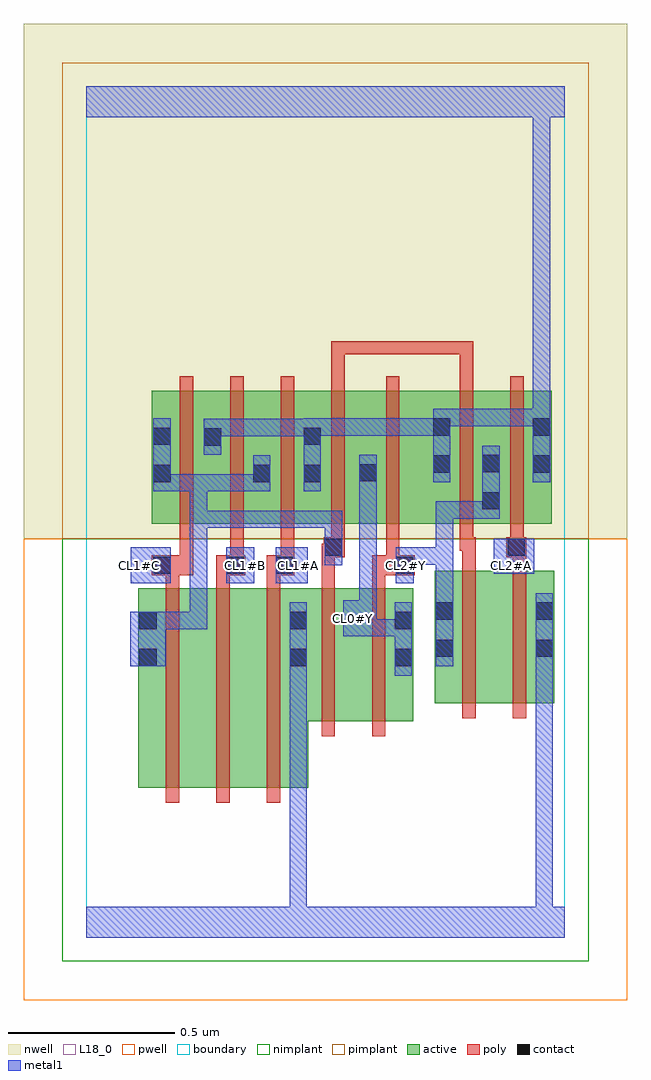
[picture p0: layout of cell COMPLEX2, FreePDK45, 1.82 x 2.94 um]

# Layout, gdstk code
import gdstk
lib = gdstk.Library(unit=1e-6, precision=1e-09)
def R(c, l, rs):  # rectangles x0, y0, x1, y1
    for r in rs: c.add(gdstk.rectangle(r[:2], r[2:], *l))
def A(c, l, x, y, w, h, nx, ny, dx, dy):  # array of equal rectangles
    R(c, l, [(x+i*dx, y+j*dy, x+i*dx+w, y+j*dy+h) for i in range(nx) for j in range(ny)])
active = (1, 0)
pwell = (2, 0)
nwell = (3, 0)
nimplant = (4, 0)
pimplant = (5, 0)
poly = (9, 0)
contact = (10, 0)
metal1 = (11, 0)
L18_0 = (18, 0)
boundary = (235, 0)

complex2 = lib.new_cell('COMPLEX2')
R(complex2, active, [(0.156,0.45,0.216,1.05), (0.156,0.45,0.336,1.05), (0.336,0.45,0.488,1.05), (0.488,0.45,0.668,1.05), (0.608,0.45,0.668,1.05), (0.608,0.65,0.804,1.05), (0.804,0.65,0.984,1.05), (0.924,0.65,0.984,1.05), (1.048,0.704,1.228,1.104), (1.048,0.704,1.108,1.104), (1.228,0.704,1.408,1.104), (1.348,0.756,1.408,1.104), (0.198,1.244,0.258,1.644), (0.198,1.244,0.41,1.644), (0.35,1.244,0.558,1.644), (0.498,1.244,0.558,1.644), (0.498,1.244,0.71,1.644), (0.65,1.244,0.878,1.644), (0.818,1.244,1.1,1.644), (1.04,1.244,1.1,1.644), (1.04,1.244,1.248,1.644), (1.188,1.244,1.4,1.644), (1.34,1.244,1.4,1.644), (1.188,1.284,1.248,1.644), (0.65,1.292,0.71,1.644), (0.35,1.366,0.41,1.644), (0.818,1.368,0.878,1.644)])
R(complex2, pwell, [(-0.188,-0.188,1.628,1.2)])
R(complex2, nwell, [(-0.188,1.2,1.628,2.748)])
R(complex2, nimplant, [(-0.072,-0.072,1.512,1.2)])
R(complex2, pimplant, [(-0.072,1.2,1.512,2.632)])
A(complex2, poly, 0.24, 0.406, 0.04, 0.688, 3, 1, 0.152, 0)
A(complex2, poly, 0.24, 1.054, 0.04, 0.076, 3, 1, 0.152, 0)
A(complex2, poly, 0.282, 1.11, 0.04, 0.13, 3, 1, 0.152, 0)
A(complex2, poly, 0.282, 1.2, 0.04, 0.488, 4, 1, 0.152, 0)
R(complex2, poly, [(0.708,0.606,0.748,1.094), (0.86,0.606,0.9,1.094), (1.132,0.66,1.172,1.148), (1.284,0.66,1.324,1.148), (0.708,1.054,0.748,1.184), (0.86,1.054,0.9,1.13), (0.198,1.09,0.322,1.15), (0.24,1.09,0.28,1.13), (0.24,1.09,0.28,1.13), (0.392,1.09,0.478,1.15), (0.544,1.09,0.626,1.15), (0.86,1.09,0.988,1.15), (1.132,1.108,1.172,1.204), (1.284,1.108,1.324,1.184), (0.434,1.11,0.474,1.15), (0.434,1.11,0.474,1.15), (0.586,1.11,0.626,1.15), (0.586,1.11,0.626,1.15), (0.902,1.11,0.942,1.15), (0.902,1.11,0.942,1.15), (0.902,1.11,0.942,1.24), (0.708,1.144,0.754,1.184), (0.714,1.144,0.754,1.184), (0.714,1.144,0.778,1.204), (1.264,1.144,1.324,1.204), (0.738,1.164,0.778,1.24), (1.124,1.164,1.164,1.24), (1.124,1.164,1.164,1.204), (1.124,1.164,1.164,1.204), (1.124,1.164,1.172,1.204), (1.276,1.164,1.316,1.24), (1.276,1.164,1.316,1.204), (1.276,1.164,1.316,1.204), (0.902,1.2,0.942,1.688), (1.124,1.2,1.164,1.688), (1.276,1.2,1.316,1.688), (0.738,1.648,0.778,1.794), (1.124,1.648,1.164,1.794), (0.738,1.754,0.778,1.794), (0.738,1.754,0.778,1.794), (0.738,1.754,0.778,1.794), (0.738,1.754,1.058,1.794), (1.018,1.754,1.058,1.794), (1.018,1.754,1.058,1.794), (1.018,1.754,1.058,1.794), (1.018,1.754,1.164,1.794), (1.124,1.754,1.164,1.794), (1.124,1.754,1.164,1.794), (1.124,1.754,1.164,1.794)])
R(complex2, contact, [(0.16,0.816,0.212,0.868), (0.612,0.816,0.664,0.868), (0.928,0.816,0.98,0.868), (1.052,0.844,1.104,0.896), (1.352,0.844,1.404,0.896), (0.16,0.928,0.212,0.98), (0.612,0.928,0.664,0.98), (0.928,0.928,0.98,0.98), (1.052,0.956,1.104,1.008), (1.352,0.956,1.404,1.008), (0.202,1.094,0.254,1.146), (0.422,1.094,0.474,1.146), (0.57,1.094,0.622,1.146), (0.932,1.094,0.984,1.146), (0.718,1.148,0.77,1.2), (1.268,1.148,1.32,1.2), (1.192,1.288,1.244,1.34), (0.202,1.37,0.254,1.422), (0.502,1.37,0.554,1.422), (0.654,1.37,0.706,1.422), (0.822,1.372,0.874,1.424), (1.044,1.398,1.096,1.45), (1.344,1.398,1.396,1.45), (1.192,1.4,1.244,1.452), (0.354,1.48,0.406,1.532), (0.202,1.482,0.254,1.534), (0.654,1.482,0.706,1.534), (1.044,1.51,1.096,1.562), (1.344,1.51,1.396,1.562)])
R(complex2, metal1, [(0,0,1.44,0.092), (0.612,0.04,0.664,0.092), (0.612,0.04,0.664,0.092), (0.612,0.04,0.664,0.092), (0.612,0.04,0.664,0.092), (0.612,0.04,0.664,0.092), (0.612,0.04,0.664,0.092), (0.612,0.04,0.664,0.092), (0.612,0.04,0.664,0.092), (0.612,0.04,0.664,0.84), (1.352,0.04,1.404,0.092), (1.352,0.04,1.404,0.092), (1.352,0.04,1.404,0.092), (1.352,0.04,1.404,0.092), (1.352,0.04,1.404,0.092), (1.352,0.04,1.404,0.092), (1.352,0.04,1.404,0.092), (1.352,0.04,1.404,0.092), (1.352,0.04,1.404,0.868), (0.612,0.788,0.664,1.008), (0.928,0.788,0.98,1.008), (0.132,0.816,0.24,0.98), (1.052,0.816,1.104,1.036), (1.352,0.816,1.404,0.868), (1.352,0.816,1.404,0.868), (1.352,0.816,1.404,0.868), (1.352,0.816,1.404,0.868), (1.352,0.816,1.404,1.036), (0.774,0.906,0.874,1.014), (0.818,0.906,0.87,0.958), (0.818,0.906,0.87,0.958), (0.818,0.906,0.98,0.958), (0.928,0.906,0.98,0.958), (0.928,0.906,0.98,0.958), (0.188,0.928,0.24,0.98), (0.188,0.928,0.24,0.98), (0.188,0.928,0.364,0.98), (0.312,0.928,0.364,0.98), (0.312,0.928,0.364,1.284), (0.822,0.962,0.874,1.396), (1.052,0.984,1.104,1.174), (0.134,1.066,0.254,1.174), (0.422,1.066,0.506,1.174), (0.57,1.066,0.666,1.174), (0.932,1.066,0.986,1.174), (1.226,1.094,1.348,1.2), (0.718,1.12,0.77,1.284), (0.934,1.122,0.986,1.174), (0.934,1.122,0.986,1.174), (0.934,1.122,1.104,1.174), (1.052,1.122,1.104,1.174), (1.052,1.122,1.104,1.312), (0.312,1.232,0.364,1.284), (0.312,1.232,0.364,1.284), (0.312,1.232,0.364,1.284), (0.312,1.232,0.364,1.284), (0.312,1.232,0.364,1.284), (0.312,1.232,0.524,1.284), (0.312,1.232,0.364,1.394), (0.472,1.232,0.524,1.284), (0.472,1.232,0.634,1.284), (0.582,1.232,0.634,1.284), (0.582,1.232,0.634,1.284), (0.582,1.232,0.634,1.284), (0.582,1.232,0.77,1.284), (1.052,1.26,1.104,1.312), (1.052,1.26,1.104,1.312), (1.052,1.26,1.104,1.312), (1.052,1.26,1.104,1.312), (1.052,1.26,1.104,1.312), (1.052,1.26,1.244,1.312), (1.192,1.26,1.244,1.48), (0.202,1.342,0.254,1.394), (0.202,1.342,0.254,1.394), (0.202,1.342,0.364,1.394), (0.202,1.342,0.254,1.562), (0.312,1.342,0.364,1.394), (0.312,1.342,0.364,1.394), (0.312,1.342,0.364,1.394), (0.312,1.342,0.554,1.394), (0.502,1.342,0.554,1.45), (0.654,1.342,0.706,1.562), (0.822,1.344,0.874,1.396), (0.822,1.344,0.874,1.396), (0.822,1.344,0.874,1.452), (1.044,1.37,1.096,1.59), (1.344,1.37,1.396,1.59), (0.354,1.452,0.406,1.56), (0.354,1.508,0.406,1.56), (0.354,1.508,0.406,1.56), (0.354,1.508,0.524,1.56), (0.472,1.508,0.524,1.56), (0.472,1.508,0.524,1.56), (0.472,1.508,0.524,1.56), (0.472,1.508,0.706,1.56), (0.654,1.51,0.816,1.562), (0.764,1.51,0.816,1.562), (0.764,1.51,0.816,1.562), (0.764,1.51,0.816,1.562), (0.764,1.51,0.986,1.562), (0.934,1.51,0.986,1.562), (0.934,1.51,0.986,1.562), (0.934,1.51,0.986,1.562), (0.934,1.51,1.096,1.562), (1.044,1.538,1.096,1.59), (1.044,1.538,1.096,1.59), (1.044,1.538,1.286,1.59), (1.234,1.538,1.286,1.59), (1.234,1.538,1.286,1.59), (1.234,1.538,1.286,1.59), (1.234,1.538,1.396,1.59), (1.344,1.538,1.396,1.59), (1.344,1.538,1.396,1.59), (1.344,1.538,1.396,1.59), (1.344,1.538,1.396,1.59), (1.344,1.538,1.396,1.59), (1.344,1.538,1.396,1.59), (1.344,1.538,1.396,1.59), (1.344,1.538,1.396,1.59), (1.344,1.538,1.396,1.59), (1.344,1.538,1.396,1.59), (1.344,1.538,1.396,2.52), (0,2.468,1.44,2.56), (1.344,2.468,1.396,2.52), (1.344,2.468,1.396,2.52), (1.344,2.468,1.396,2.52), (1.344,2.468,1.396,2.52), (1.344,2.468,1.396,2.52), (1.344,2.468,1.396,2.52)])
A(complex2, L18_0, 0.614, 1.094, 0.052, 0.052, 3, 1, 0.32, 0)
R(complex2, L18_0, [(0,0,1.44,0.092), (0.612,0.04,0.664,0.092), (0.612,0.04,0.664,0.092), (0.612,0.04,0.664,0.092), (0.612,0.04,0.664,0.092), (0.612,0.04,0.664,0.092), (0.612,0.04,0.664,0.092), (0.612,0.04,0.664,0.092), (0.612,0.04,0.664,0.092), (0.612,0.04,0.664,0.84), (1.352,0.04,1.404,0.092), (1.352,0.04,1.404,0.092), (1.352,0.04,1.404,0.092), (1.352,0.04,1.404,0.092), (1.352,0.04,1.404,0.092), (1.352,0.04,1.404,0.092), (1.352,0.04,1.404,0.092), (1.352,0.04,1.404,0.092), (1.352,0.04,1.404,0.868), (0.612,0.788,0.664,1.008), (0.928,0.788,0.98,1.008), (1.052,0.816,1.104,1.036), (1.352,0.816,1.404,0.868), (1.352,0.816,1.404,0.868), (1.352,0.816,1.404,0.868), (1.352,0.816,1.404,0.868), (1.352,0.816,1.404,1.036), (0.774,0.906,0.874,1.014), (0.818,0.906,0.87,0.958), (0.818,0.906,0.87,0.958), (0.818,0.906,0.98,0.958), (0.928,0.906,0.98,0.958), (0.928,0.906,0.98,0.958), (0.774,0.934,0.826,0.986), (0.822,0.962,0.874,1.396), (1.052,0.984,1.104,1.174), (0.134,1.066,0.254,1.174), (0.422,1.066,0.506,1.174), (0.57,1.066,0.666,1.174), (0.932,1.066,0.986,1.174), (0.134,1.094,0.186,1.146), (0.454,1.094,0.506,1.146), (1.226,1.094,1.348,1.2), (0.934,1.122,0.986,1.174), (0.934,1.122,0.986,1.174), (0.934,1.122,1.104,1.174), (1.052,1.122,1.104,1.174), (1.052,1.122,1.104,1.312), (1.052,1.26,1.104,1.312), (1.052,1.26,1.104,1.312), (1.052,1.26,1.104,1.312), (1.052,1.26,1.104,1.312), (1.052,1.26,1.104,1.312), (1.052,1.26,1.244,1.312), (1.192,1.26,1.244,1.48), (0.654,1.342,0.706,1.562), (0.822,1.344,0.874,1.452), (0.822,1.344,0.874,1.396), (0.822,1.344,0.874,1.396), (1.044,1.37,1.096,1.59), (1.344,1.37,1.396,1.59), (0.354,1.452,0.406,1.56), (0.354,1.508,0.406,1.56), (0.354,1.508,0.406,1.56), (0.354,1.508,0.524,1.56), (0.472,1.508,0.524,1.56), (0.472,1.508,0.524,1.56), (0.472,1.508,0.524,1.56), (0.472,1.508,0.706,1.56), (0.654,1.51,0.816,1.562), (0.764,1.51,0.816,1.562), (0.764,1.51,0.816,1.562), (0.764,1.51,0.816,1.562), (0.764,1.51,0.986,1.562), (0.934,1.51,0.986,1.562), (0.934,1.51,0.986,1.562), (0.934,1.51,0.986,1.562), (0.934,1.51,1.096,1.562), (1.044,1.538,1.096,1.59), (1.044,1.538,1.096,1.59), (1.044,1.538,1.286,1.59), (1.234,1.538,1.286,1.59), (1.234,1.538,1.286,1.59), (1.234,1.538,1.286,1.59), (1.234,1.538,1.396,1.59), (1.344,1.538,1.396,1.59), (1.344,1.538,1.396,1.59), (1.344,1.538,1.396,1.59), (1.344,1.538,1.396,1.59), (1.344,1.538,1.396,1.59), (1.344,1.538,1.396,1.59), (1.344,1.538,1.396,1.59), (1.344,1.538,1.396,1.59), (1.344,1.538,1.396,1.59), (1.344,1.538,1.396,1.59), (1.344,1.538,1.396,2.52), (0,2.468,1.44,2.56), (1.344,2.468,1.396,2.52), (1.344,2.468,1.396,2.52), (1.344,2.468,1.396,2.52), (1.344,2.468,1.396,2.52), (1.344,2.468,1.396,2.52), (1.344,2.468,1.396,2.52)])
R(complex2, boundary, [(0,0,1.44,2.56)])
complex2.add(gdstk.Label('CL0#Y', (0.8,0.96), layer=11, texttype=0))
complex2.add(gdstk.Label('CL1#A', (0.64,1.12), layer=11, texttype=0))
complex2.add(gdstk.Label('CL1#B', (0.48,1.12), layer=11, texttype=0))
complex2.add(gdstk.Label('CL1#C', (0.16,1.12), layer=11, texttype=0))
complex2.add(gdstk.Label('CL2#A', (1.28,1.12), layer=11, texttype=0))
complex2.add(gdstk.Label('CL2#Y', (0.96,1.12), layer=11, texttype=0))

lib.write_gds('COMPLEX2.gds')
